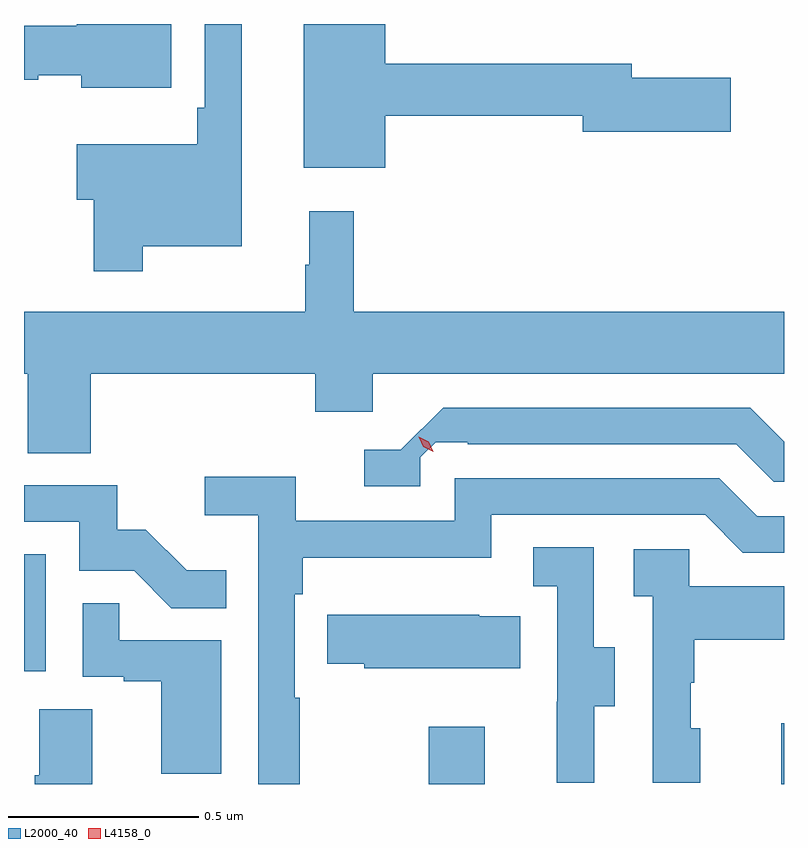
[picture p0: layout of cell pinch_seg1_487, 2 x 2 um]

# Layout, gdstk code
import gdstk
lib = gdstk.Library(unit=1e-6, precision=1e-09)
def R(c, l, rs):  # rectangles x0, y0, x1, y1
    for r in rs: c.add(gdstk.rectangle(r[:2], r[2:], *l))
def P(c, l, *ps):  # polygons
    for p in ps: c.add(gdstk.Polygon(p, *l))
L2000_40 = (2000, 40)
L4158_0 = (4158, 0)

pinch_seg1_487 = lib.new_cell('pinch_seg1_487')
R(pinch_seg1_487, L2000_40, [(1114.21,529.341,1114.357,529.492), (1115.138,529.341,1115.145,529.501), (1113.145,529.638,1113.202,529.945)])
P(pinch_seg1_487, L2000_40, [(1113.457,530.756),(1113.718,530.756),(1113.718,531.341),(1113.621,531.341),(1113.621,531.121),(1113.601,531.121),(1113.601,531.025),(1113.284,531.025),(1113.284,530.878),(1113.328,530.878),(1113.328,530.691),(1113.457,530.691)],
  [(1113.532,531.341),(1113.284,531.341),(1113.284,531.336),(1113.145,531.336),(1113.145,531.194),(1113.183,531.194),(1113.183,531.206),(1113.296,531.206),(1113.296,531.173),(1113.532,531.173)],
  [(1114.096,531.1),(1114.616,531.1),(1114.616,531.058),(1115.005,531.058),(1115.005,531.2),(1114.744,531.2),(1114.744,531.236),(1114.096,531.236),(1114.096,531.341),(1113.881,531.341),(1113.881,530.963),(1114.096,530.963)],
  [(1113.32,530.42),(1113.911,530.42),(1113.911,530.321),(1114.063,530.321),(1114.063,530.42),(1115.145,530.42),(1115.145,530.584),(1114.013,530.584),(1114.013,530.848),(1113.896,530.848),(1113.896,530.708),(1113.885,530.708),(1113.885,530.584),(1113.145,530.584),(1113.145,530.42),(1113.155,530.42),(1113.155,530.212),(1113.32,530.212)],
  [(1114.188,530.201),(1114.228,530.241),(1114.313,530.241),(1114.313,530.235),(1115.019,530.235),(1115.118,530.136),(1115.145,530.136),(1115.145,530.242),(1115.056,530.331),(1114.248,530.331),(1114.137,530.22),(1114.041,530.22),(1114.041,530.124),(1114.188,530.124)],
  [(1113.871,529.568),(1113.858,529.568),(1113.858,529.841),(1113.878,529.841),(1113.878,529.937),(1114.374,529.937),(1114.374,530.049),(1114.938,530.049),(1115.037,529.95),(1115.145,529.95),(1115.145,530.046),(1115.074,530.046),(1114.975,530.145),(1114.278,530.145),(1114.278,530.034),(1113.86,530.034),(1113.86,530.15),(1113.621,530.15),(1113.621,530.048),(1113.762,530.048),(1113.762,529.341),(1113.871,529.341)],
  [(1113.677,529.903),(1113.573,529.903),(1113.466,530.01),(1113.39,530.01),(1113.39,530.127),(1113.145,530.127),(1113.145,530.031),(1113.291,530.031),(1113.291,529.902),(1113.435,529.902),(1113.533,529.804),(1113.677,529.804)],
  [(1114.645,529.546),(1114.699,529.546),(1114.699,529.701),(1114.644,529.701),(1114.644,529.964),(1114.485,529.964),(1114.485,529.861),(1114.548,529.861),(1114.548,529.557),(1114.547,529.557),(1114.547,529.344),(1114.645,529.344)],
  [(1114.924,529.488),(1114.899,529.488),(1114.899,529.607),(1114.909,529.607),(1114.909,529.721),(1115.145,529.721),(1115.145,529.861),(1114.896,529.861),(1114.896,529.959),(1114.749,529.959),(1114.749,529.835),(1114.8,529.835),(1114.8,529.344),(1114.924,529.344)],
  [(1113.664,529.719),(1113.395,529.719),(1113.395,529.817),(1113.3,529.817),(1113.3,529.623),(1113.407,529.623),(1113.407,529.611),(1113.506,529.611),(1113.506,529.368),(1113.664,529.368)],
  [(1114.451,529.783),(1114.343,529.783),(1114.343,529.786),(1113.943,529.786),(1113.943,529.657),(1114.041,529.657),(1114.041,529.646),(1114.451,529.646)],
  [(1113.325,529.538),(1113.185,529.538),(1113.185,529.364),(1113.173,529.364),(1113.173,529.341),(1113.325,529.341)])
P(pinch_seg1_487, L4158_0, [(1114.222,530.216),(1114.196,530.228),(1114.184,530.255),(1114.184,530.255),(1114.184,530.255),(1114.21,530.242),(1114.222,530.216),(1114.222,530.216)])

lib.write_gds('pinch_seg1_487.gds')
